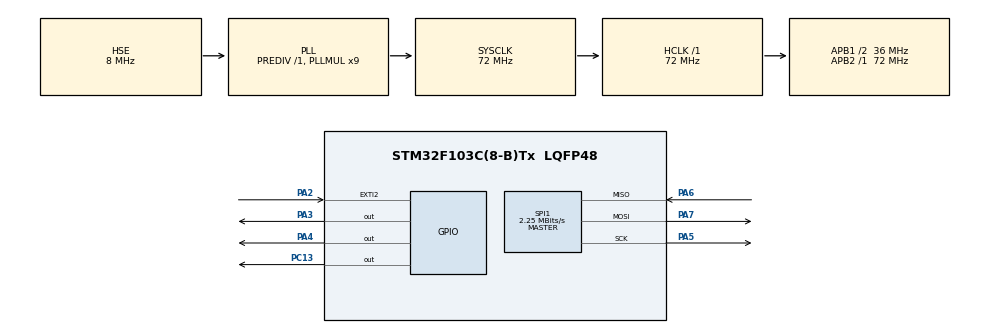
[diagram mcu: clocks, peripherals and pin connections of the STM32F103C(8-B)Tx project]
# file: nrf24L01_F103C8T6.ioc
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Mcu.Family=STM32F1
Mcu.Name=STM32F103C(8-B)Tx
Mcu.Package=LQFP48
NVIC.EXTI2_IRQn=true\:0\:0\:false\:false\:true\:true\:true\:true
NVIC.PriorityGroup=NVIC_PRIORITYGROUP_4
PA13.Mode=Serial_Wire
PA13.Signal=SYS_JTMS-SWDIO
PA14.Mode=Serial_Wire
PA14.Signal=SYS_JTCK-SWCLK
PA2.GPIO_ModeDefaultEXTI=GPIO_MODE_IT_FALLING
PA2.Signal=GPXTI2
PA3.PinState=GPIO_PIN_RESET
PA3.Signal=GPIO_Output
PA4.PinState=GPIO_PIN_RESET
PA4.Signal=GPIO_Output
PA5.Mode=Full_Duplex_Master
PA5.Signal=SPI1_SCK
PA6.Mode=Full_Duplex_Master
PA6.Signal=SPI1_MISO
PA7.Mode=Full_Duplex_Master
PA7.Signal=SPI1_MOSI
PC13-TAMPER-RTC.Signal=GPIO_Output
PD0-OSC_IN.Mode=HSE-External-Oscillator
PD0-OSC_IN.Signal=RCC_OSC_IN
PD1-OSC_OUT.Mode=HSE-External-Oscillator
PD1-OSC_OUT.Signal=RCC_OSC_OUT
ProjectManager.HeapSize=0x200
ProjectManager.StackSize=0x400
ProjectManager.TargetToolchain=STM32CubeIDE
RCC.AHBFreq_Value=72000000
RCC.APB1CLKDivider=RCC_HCLK_DIV2
RCC.APB1Freq_Value=36000000
RCC.APB1TimFreq_Value=72000000
RCC.APB2Freq_Value=72000000
RCC.APB2TimFreq_Value=72000000
RCC.HCLKFreq_Value=72000000
RCC.PLLMUL=RCC_PLL_MUL9
RCC.PLLSourceVirtual=RCC_PLLSOURCE_HSE
RCC.SYSCLKFreq_VALUE=72000000
RCC.SYSCLKSource=RCC_SYSCLKSOURCE_PLLCLK
RCC.USBFreq_Value=72000000
SPI1.BaudRatePrescaler=SPI_BAUDRATEPRESCALER_32
SPI1.CalculateBaudRate=2.25 MBits/s
SPI1.Direction=SPI_DIRECTION_2LINES
SPI1.Mode=SPI_MODE_MASTER
SPI1.VirtualType=VM_MASTER
board=custom

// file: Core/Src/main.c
/* USER CODE BEGIN Header */
/**
  ******************************************************************************
  * @file           : main.c
  * @brief          : Main program body
  ******************************************************************************
  * @attention
  *
  * Copyright (c) 2025 STMicroelectronics.
  * All rights reserved.
  *
  * This software is licensed under terms that can be found in the LICENSE file
  * in the root directory of this software component.
  * If no LICENSE file comes with this software, it is provided AS-IS.
  *
  ******************************************************************************
  */
/* USER CODE END Header */
#include "main.h"

/* USER CODE BEGIN Includes */
#include <string.h>
#include "NRF24.h"
#include "NRF24_reg_addresses.h"
/* USER CODE END Includes */

SPI_HandleTypeDef hspi1;

void SystemClock_Config(void);
static void MX_GPIO_Init(void);
static void MX_SPI1_Init(void);

/* USER CODE BEGIN 0 */

#define PLD_S 32

uint8_t tx_addr[5] = {0x45, 0x55, 0x67, 0x10, 0x21};

uint16_t data = 0;

uint8_t dataT[PLD_S] = "Teslanin Sovalyesi! Transmitter";

/* USER CODE END 0 */

int main(void)
{

  /* MCU Configuration--------------------------------------------------------*/

  /* Reset of all peripherals, Initializes the Flash interface and the Systick. */
  HAL_Init();

  /* Configure the system clock */
  SystemClock_Config();

  /* Initialize all configured peripherals */
  MX_GPIO_Init();
  MX_SPI1_Init();
  /* USER CODE BEGIN 2 */
  csn_high();
    ce_high();

    HAL_Delay(5);

    ce_low();

    nrf24_init();

    nrf24_stop_listen();

    nrf24_auto_ack_all(auto_ack);
    nrf24_en_ack_pld(disable);
    nrf24_dpl(disable);

    nrf24_set_crc(no_crc, _1byte);

    nrf24_tx_pwr(_0dbm);
    nrf24_data_rate(_1mbps);
    nrf24_set_channel(90);
    nrf24_set_addr_width(5);

    nrf24_set_rx_dpl(0, disable);
    nrf24_set_rx_dpl(1, disable);
    nrf24_set_rx_dpl(2, disable);
    nrf24_set_rx_dpl(3, disable);
    nrf24_set_rx_dpl(4, disable);
    nrf24_set_rx_dpl(5, disable);

    nrf24_pipe_pld_size(0, PLD_S);

    nrf24_auto_retr_delay(4);
    nrf24_auto_retr_limit(10);

    nrf24_open_tx_pipe(tx_addr);
    nrf24_open_rx_pipe(0, tx_addr);
    ce_high();
  /* USER CODE END 2 */

  /* Infinite loop */
  /* USER CODE BEGIN WHILE */

  while (1)
  {

	    nrf24_type_to_uint8_t(data, dataT, sizeof(data));

	    uint8_t val = nrf24_transmit(dataT, sizeof(dataT));

		HAL_Delay(100);
    /* USER CODE END WHILE */

  }
}

void SystemClock_Config(void)
{
  RCC_OscInitTypeDef RCC_OscInitStruct = {0};
  RCC_ClkInitTypeDef RCC_ClkInitStruct = {0};

  /** Initializes the RCC Oscillators according to the specified parameters
  * in the RCC_OscInitTypeDef structure.
  */
  RCC_OscInitStruct.OscillatorType = RCC_OSCILLATORTYPE_HSE;
  RCC_OscInitStruct.HSEState = RCC_HSE_ON;
  RCC_OscInitStruct.HSEPredivValue = RCC_HSE_PREDIV_DIV1;
  RCC_OscInitStruct.HSIState = RCC_HSI_ON;
  RCC_OscInitStruct.PLL.PLLState = RCC_PLL_ON;
  RCC_OscInitStruct.PLL.PLLSource = RCC_PLLSOURCE_HSE;
  RCC_OscInitStruct.PLL.PLLMUL = RCC_PLL_MUL9;
  if (HAL_RCC_OscConfig(&RCC_OscInitStruct) != HAL_OK)
  {
    Error_Handler();
  }

  /** Initializes the CPU, AHB and APB buses clocks
  */
  RCC_ClkInitStruct.ClockType = RCC_CLOCKTYPE_HCLK|RCC_CLOCKTYPE_SYSCLK
                              |RCC_CLOCKTYPE_PCLK1|RCC_CLOCKTYPE_PCLK2;
  RCC_ClkInitStruct.SYSCLKSource = RCC_SYSCLKSOURCE_PLLCLK;
  RCC_ClkInitStruct.AHBCLKDivider = RCC_SYSCLK_DIV1;
  RCC_ClkInitStruct.APB1CLKDivider = RCC_HCLK_DIV2;
  RCC_ClkInitStruct.APB2CLKDivider = RCC_HCLK_DIV1;

  if (HAL_RCC_ClockConfig(&RCC_ClkInitStruct, FLASH_LATENCY_2) != HAL_OK)
  {
    Error_Handler();
  }
}

static void MX_SPI1_Init(void)
{

  /* SPI1 parameter configuration*/
  hspi1.Instance = SPI1;
  hspi1.Init.Mode = SPI_MODE_MASTER;
  hspi1.Init.Direction = SPI_DIRECTION_2LINES;
  hspi1.Init.DataSize = SPI_DATASIZE_8BIT;
  hspi1.Init.CLKPolarity = SPI_POLARITY_LOW;
  hspi1.Init.CLKPhase = SPI_PHASE_1EDGE;
  hspi1.Init.NSS = SPI_NSS_SOFT;
  hspi1.Init.BaudRatePrescaler = SPI_BAUDRATEPRESCALER_32;
  hspi1.Init.FirstBit = SPI_FIRSTBIT_MSB;
  hspi1.Init.TIMode = SPI_TIMODE_DISABLE;
  hspi1.Init.CRCCalculation = SPI_CRCCALCULATION_DISABLE;
  hspi1.Init.CRCPolynomial = 10;
  if (HAL_SPI_Init(&hspi1) != HAL_OK)
  {
    Error_Handler();
  }

}

static void MX_GPIO_Init(void)
{
  GPIO_InitTypeDef GPIO_InitStruct = {0};

  /* GPIO Ports Clock Enable */
  __HAL_RCC_GPIOC_CLK_ENABLE();
  __HAL_RCC_GPIOD_CLK_ENABLE();
  __HAL_RCC_GPIOA_CLK_ENABLE();

  /*Configure GPIO pin Output Level */
  HAL_GPIO_WritePin(GPIOC, GPIO_PIN_13, GPIO_PIN_RESET);

  /*Configure GPIO pin Output Level */
  HAL_GPIO_WritePin(GPIOA, GPIO_PIN_3|GPIO_PIN_4, GPIO_PIN_RESET);

  /*Configure GPIO pin : PC13 */
  GPIO_InitStruct.Pin = GPIO_PIN_13;
  GPIO_InitStruct.Mode = GPIO_MODE_OUTPUT_PP;
  GPIO_InitStruct.Pull = GPIO_NOPULL;
  GPIO_InitStruct.Speed = GPIO_SPEED_FREQ_LOW;
  HAL_GPIO_Init(GPIOC, &GPIO_InitStruct);

  /*Configure GPIO pin : PA2 */
  GPIO_InitStruct.Pin = GPIO_PIN_2;
  GPIO_InitStruct.Mode = GPIO_MODE_IT_FALLING;
  GPIO_InitStruct.Pull = GPIO_NOPULL;
  HAL_GPIO_Init(GPIOA, &GPIO_InitStruct);

  /*Configure GPIO pins : PA3 PA4 */
  GPIO_InitStruct.Pin = GPIO_PIN_3|GPIO_PIN_4;
  GPIO_InitStruct.Mode = GPIO_MODE_OUTPUT_PP;
  GPIO_InitStruct.Pull = GPIO_NOPULL;
  GPIO_InitStruct.Speed = GPIO_SPEED_FREQ_LOW;
  HAL_GPIO_Init(GPIOA, &GPIO_InitStruct);

  /* EXTI interrupt init*/
  HAL_NVIC_SetPriority(EXTI2_IRQn, 0, 0);
  HAL_NVIC_EnableIRQ(EXTI2_IRQn);

}

void Error_Handler(void)
{
  __disable_irq();
  while (1)
  {
  }
}
